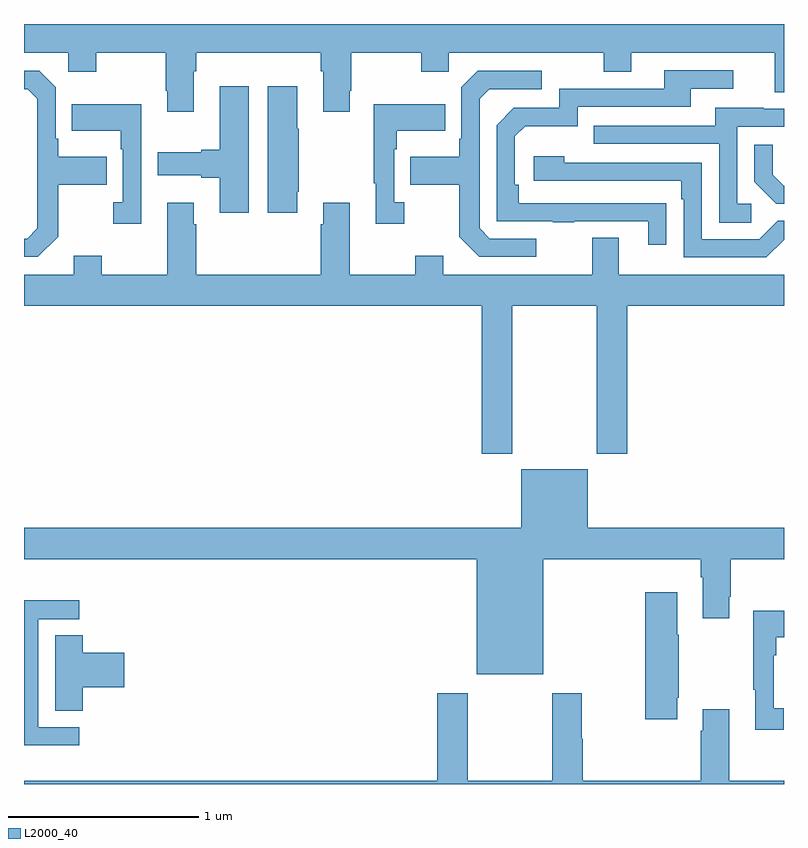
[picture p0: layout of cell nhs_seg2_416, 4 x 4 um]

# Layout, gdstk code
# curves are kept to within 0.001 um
import gdstk
lib = gdstk.Library(unit=1e-6, precision=1e-09)
def P(c, l, *ps):  # polygons
    for p in ps: c.add(gdstk.Polygon(p, *l))
L2000_40 = (2000, 40)

nhs_seg2_416 = lib.new_cell('nhs_seg2_416')
P(nhs_seg2_416, L2000_40, [(131.893,635.552),(131.906,635.552),(131.906,635.648),(132.563,635.648),(132.563,635.552),(132.575,635.552),(132.575,635.337),(132.715,635.337),(132.715,635.449),(132.723,635.449),(132.723,635.648),(133.09,635.648),(133.09,635.549),(133.236,635.549),(133.236,635.648),(134.05,635.648),(134.05,635.549),(134.197,635.549),(134.197,635.648),(134.951,635.648),(134.951,635.44),(135,635.44),(135,635.8),(131,635.8),(131,635.648),(131.232,635.648),(131.232,635.549),(131.379,635.549),(131.379,635.648),(131.746,635.648),(131.746,635.449),(131.753,635.449),(131.753,635.337),(131.893,635.337)],
  [(134.381,634.856),(133.604,634.857),(133.604,634.954),(133.584,634.954),(133.584,635.208),(133.637,635.261),(133.914,635.261),(133.914,635.364),(134.509,635.364),(134.509,635.46),(134.734,635.46),(134.734,635.556),(134.369,635.556),(134.369,635.46),(133.818,635.46),(133.818,635.358),(133.578,635.358),(133.488,635.268),(133.488,634.761),(133.783,634.761),(133.783,634.756),(133.895,634.756),(133.895,634.761),(134.285,634.761),(134.285,634.638),(134.381,634.638)],
  [(131.179,634.681),(131.179,634.954),(131.435,634.954),(131.435,635.101),(131.179,635.101),(131.179,635.197),(131.166,635.197),(131.166,635.466),(131.079,635.553),(131,635.553),(131,635.457),(131.019,635.457),(131.07,635.406),(131.07,634.725),(131.016,634.671),(131,634.671),(131,634.575),(131.073,634.575)],
  [(133.696,634.671),(133.452,634.671),(133.398,634.725),(133.398,635.406),(133.449,635.457),(133.726,635.457),(133.726,635.553),(133.389,635.553),(133.302,635.466),(133.302,635.197),(133.29,635.197),(133.29,635.101),(133.033,635.101),(133.033,634.954),(133.29,634.954),(133.29,634.681),(133.395,634.575),(133.696,634.575)],
  [(132.184,635.473),(132.029,635.473),(132.029,635.138),(131.933,635.138),(131.933,635.125),(131.703,635.125),(131.703,635.003),(131.933,635.003),(131.933,634.991),(132.029,634.991),(132.029,634.806),(132.184,634.806)],
  [(132.439,634.918),(132.447,634.918),(132.447,635.249),(132.439,635.249),(132.439,635.473),(132.284,635.473),(132.284,634.806),(132.439,634.806)],
  [(131.616,635.377),(131.251,635.377),(131.251,635.237),(131.508,635.237),(131.508,635.141),(131.52,635.141),(131.52,634.862),(131.469,634.862),(131.469,634.749),(131.616,634.749)],
  [(133,634.862),(132.948,634.862),(132.948,635.141),(132.961,635.141),(132.961,635.237),(133.217,635.237),(133.217,635.377),(132.84,635.377),(132.84,634.961),(132.851,634.961),(132.851,634.749),(133,634.749)],
  [(134.827,634.854),(134.754,634.854),(134.754,635.259),(135,635.259),(135,635.355),(134.893,635.355),(134.893,635.359),(134.639,635.359),(134.639,635.265),(133.999,635.265),(133.999,635.169),(134.658,635.169),(134.658,634.753),(134.827,634.753)],
  [(135,634.95),(134.998,634.95),(134.941,635.007),(134.941,635.164),(134.844,635.164),(134.844,634.97),(134.96,634.854),(135,634.854)],
  [(135,634.665),(135,634.764),(134.967,634.764),(134.871,634.668),(134.568,634.668),(134.568,635.07),(133.844,635.07),(133.844,635.104),(133.683,635.104),(133.683,634.974),(134.459,634.974),(134.459,634.877),(134.472,634.877),(134.472,634.572),(134.907,634.572)],
  [(133.569,634.316),(134.014,634.316),(134.014,633.537),(134.174,633.537),(134.174,634.316),(135,634.316),(135,634.48),(134.131,634.48),(134.131,634.675),(133.991,634.675),(133.991,634.48),(133.207,634.48),(133.207,634.579),(133.06,634.579),(133.06,634.48),(132.715,634.48),(132.715,634.858),(132.575,634.858),(132.575,634.745),(132.563,634.745),(132.563,634.48),(131.906,634.48),(131.906,634.745),(131.893,634.745),(131.893,634.858),(131.753,634.858),(131.753,634.48),(131.409,634.48),(131.409,634.579),(131.261,634.579),(131.261,634.48),(131,634.48),(131,634.316),(133.409,634.316),(133.409,633.537),(133.569,633.537)],
  [(133.732,632.984),(134.561,632.984),(134.561,632.888),(134.573,632.888),(134.573,632.673),(134.713,632.673),(134.713,632.785),(134.721,632.785),(134.721,632.984),(135,632.984),(135,633.148),(133.966,633.148),(133.966,633.457),(133.616,633.457),(133.616,633.148),(131,633.148),(131,632.984),(133.382,632.984),(133.382,632.378),(133.732,632.378)],
  [(134.437,632.254),(134.445,632.254),(134.445,632.585),(134.437,632.585),(134.437,632.809),(134.27,632.809),(134.27,632.142),(134.437,632.142)],
  [(131.29,632.1),(131.076,632.1),(131.076,632.667),(131.29,632.667),(131.29,632.766),(131,632.766),(131,632.004),(131.29,632.004)],
  [(134.998,632.198),(134.946,632.198),(134.946,632.477),(134.959,632.477),(134.959,632.573),(135,632.573),(135,632.713),(134.838,632.713),(134.838,632.297),(134.849,632.297),(134.849,632.085),(134.998,632.085)],
  [(131.309,632.309),(131.527,632.309),(131.527,632.492),(131.309,632.492),(131.309,632.582),(131.165,632.582),(131.165,632.185),(131.309,632.185)],
  [(133.78,631.816),(133.335,631.816),(133.335,632.278),(133.175,632.278),(133.175,631.816),(131,631.816),(131,631.8),(135,631.8),(135,631.816),(134.713,631.816),(134.713,632.194),(134.573,632.194),(134.573,632.081),(134.561,632.081),(134.561,631.816),(133.94,631.816),(133.94,632.039),(133.935,632.039),(133.935,632.278),(133.78,632.278)])

lib.write_gds('nhs_seg2_416.gds')
